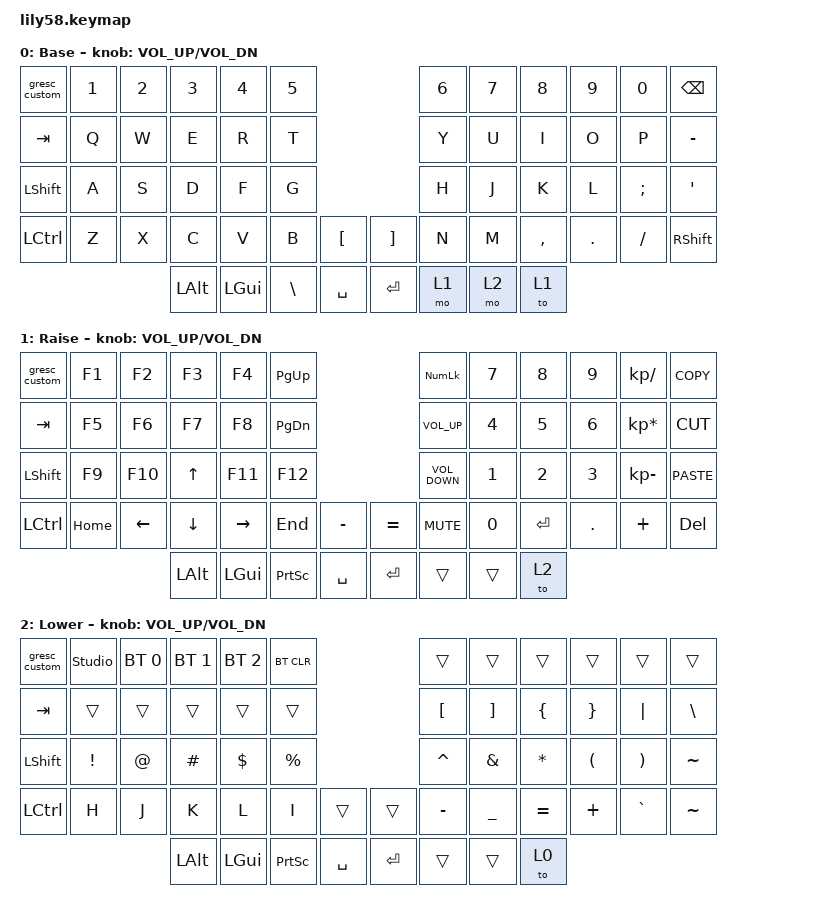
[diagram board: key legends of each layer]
/*
 * Copyright (c) 2020 The ZMK Contributors
 *
 * SPDX-License-Identifier: MIT
 */

#include <behaviors.dtsi>
#include <dt-bindings/zmk/bt.h>
#include <dt-bindings/zmk/keys.h>

/ {
    behaviors {
        esc_ctrl_tilde: esc_ctrl_tilde {
            compatible = "zmk,behavior-mod-morph";
            label = "ESC_CTRL_TILDE";
            bindings = <&kp ESCAPE>, <&kp TILDE>;

            #binding-cells = <0>;
            mods = <(MOD_LCTL|MOD_RCTL)>;
        };

        gresc_custom: gresc_custom {
            compatible = "zmk,behavior-mod-morph";
            label = "GRESC_CUSTOM";
            bindings = <&esc_ctrl_tilde>, <&kp GRAVE>;

            #binding-cells = <0>;
            mods = <(MOD_LSFT|MOD_RSFT)>;
        };
    };

    keymap {
        compatible = "zmk,keymap";

        default_layer {
            // ------------------------------------------------------------------------------------------------------------
            // |  ESC  |  1  |  2  |  3   |  4   |  5   |                   |  6   |  7    |  8    |  9   |   0   |   `   |
            // |  TAB  |  Q  |  W  |  E   |  R   |  T   |                   |  Y   |  U    |  I    |  O   |   P   |   -   |
            // |  CTRL |  A  |  S  |  D   |  F   |  G   |                   |  H   |  J    |  K    |  L   |   ;   |   '   |
            // | SHIFT |  Z  |  X  |  C   |  V   |  B   |   "["  |  |  "]"  |  N   |  M    |  ,    |  .   |   /   | SHIFT |
            //                     | ALT  | GUI  | LOWER|  SPACE |  | ENTER | RAISE| BSPC  | GUI   |

            display-name = "Base";
            bindings = <
&gresc_custom   &kp N1  &kp N2  &kp N3    &kp N4    &kp N5                                &kp N6  &kp N7  &kp N8     &kp N9   &kp N0    &kp BACKSPACE
&kp TAB         &kp Q   &kp W   &kp E     &kp R     &kp T                                 &kp Y   &kp U   &kp I      &kp O    &kp P     &kp MINUS
&kp LEFT_SHIFT  &kp A   &kp S   &kp D     &kp F     &kp G                                 &kp H   &kp J   &kp K      &kp L    &kp SEMI  &kp SQT
&kp LCTRL       &kp Z   &kp X   &kp C     &kp V     &kp B          &kp LBKT     &kp RBKT  &kp N   &kp M   &kp COMMA  &kp DOT  &kp FSLH  &kp RSHFT
                                &kp LALT  &kp LGUI  &kp BACKSLASH  &kp SPACE    &kp RET   &mo 1   &mo 2   &to 1
            >;

            sensor-bindings = <&inc_dec_kp C_VOL_UP C_VOL_DN>;
        };

        raise_layer {
            // ------------------------------------------------------------------------------------------------------------
            // |       |     |     |      |      |      |                   |      |       |       |      |       |       |
            // |   `   |  1  |  2  |  3   |  4   |  5   |                   |  6   |   7   |   8   |  9   |   0   |       |
            // |   F1  |  F2 |  F3 |  F4  |  F5  |  F6  |                   |      |   <-  |   v   |  ^   |  ->   |       |
            // |   F7  |  F8 |  F9 |  F10 |  F11 |  F12 |        |  |       |  +   |   -   |   =   |  [   |   ]   |   \   |
            //                     |      |      |      |        |  |       |      |       |       |

            display-name = "Raise";
            bindings = <
&gresc_custom     &kp F1    &kp F2          &kp F3          &kp F4           &kp PG_UP                                &kp KP_NUMLOCK     &kp N7  &kp N8     &kp N9      &kp KP_DIVIDE    &kp K_COPY
&kp TAB           &kp F5    &kp F6          &kp F7          &kp F8           &kp PAGE_DOWN                            &kp C_VOLUME_UP    &kp N4  &kp N5     &kp N6      &kp KP_MULTIPLY  &kp K_CUT
&kp LEFT_SHIFT    &kp F9    &kp F10         &kp UP_ARROW    &kp F11          &kp F12                                  &kp C_VOLUME_DOWN  &kp N1  &kp N2     &kp N3      &kp KP_MINUS     &kp K_PASTE
&kp LEFT_CONTROL  &kp HOME  &kp LEFT_ARROW  &kp DOWN_ARROW  &kp RIGHT_ARROW  &kp END          &kp MINUS    &kp EQUAL  &kp C_MUTE         &kp N0  &kp ENTER  &kp PERIOD  &kp PLUS         &kp DELETE
                                            &kp LEFT_ALT    &kp LEFT_GUI     &kp PRINTSCREEN  &kp SPACE    &kp ENTER  &trans             &trans  &to 2
            >;

            sensor-bindings = <&inc_dec_kp C_VOL_UP C_VOL_DN>;
        };

        lower_layer {
            // ------------------------------------------------------------------------------------------------------------
            // | BTCLR | BT1 | BT2 |  BT3 |  BT4 |  BT5 |                   |      |       |       |      |       |       |
            // |  F1   |  F2 |  F3 |  F4  |  F5  |  F6  |                   |  F7  |  F8   |  F9   |  F10 |  F11  |  F12  |
            // |   `   |  !  |  @  |  #   |  $   |  %   |                   |  ^   |  &    |  *    |  (   |   )   |   ~   |
            // |       |     |     |      |      |      |        |  |       |      |  _    |  +    |  {   |   }   |  "|"  |
            //                     |      |      |      |        |  |       |      |       |       |

            display-name = "Lower";
            bindings = <
&gresc_custom     &studio_unlock  &bt BT_SEL 0  &bt BT_SEL 1  &bt BT_SEL 2  &bt BT_CLR                               &trans            &trans             &trans          &trans           &trans     &trans
&kp TAB           &trans          &trans        &trans        &trans        &trans                                   &kp LEFT_BRACKET  &kp RIGHT_BRACKET  &kp LEFT_BRACE  &kp RIGHT_BRACE  &kp PIPE   &kp BACKSLASH
&kp LEFT_SHIFT    &kp EXCL        &kp AT        &kp HASH      &kp DOLLAR    &kp PRCNT                                &kp CARET         &kp AMPS           &kp ASTRK       &kp LPAR         &kp RPAR   &kp TILDE
&kp LEFT_CONTROL  &kp H           &kp J         &kp K         &kp L         &kp I            &trans       &trans     &kp MINUS         &kp UNDER          &kp EQUAL       &kp PLUS         &kp GRAVE  &kp TILDE
                                                &kp LEFT_ALT  &kp LEFT_GUI  &kp PRINTSCREEN  &kp SPACE    &kp ENTER  &trans            &trans             &to 0
            >;

            sensor-bindings = <&inc_dec_kp C_VOL_UP C_VOL_DN>;
        };

        extra_1 { status = "reserved"; };

        extra_2 { status = "reserved"; };

        extra_3 { status = "reserved"; };
    };
};
